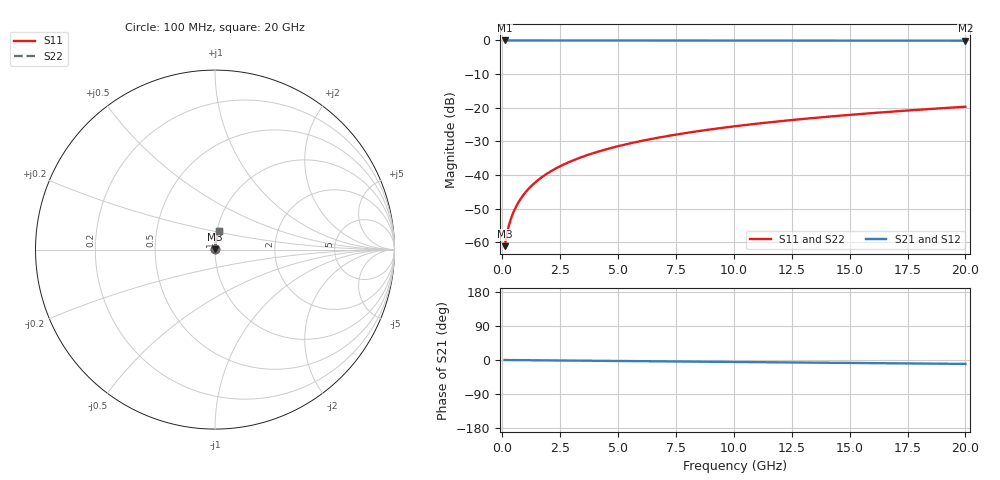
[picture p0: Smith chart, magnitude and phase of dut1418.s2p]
! Touchstone file exported from HFSS 2026.1.0
!  File:  C:/ffzhzh/LocalFiles/Ansys_Project_Files/temp_train_TMRDL_1418_1783166648_51560.aedt
!  Generated:  08:05:17 PM Jul  4, 2026
!  Design:  TMRDL
!  Project:  temp_train_TMRDL_1418_1783166648_51560
! Variables:
!  h_bsmrdl = 2um
!  h_ox = 20um
!  h_rdl = 5um
!  h_sub = 80um
!  h_tmrdl = 3.55um
!  h_tsv = 80um
!  h_via = 3um
!  l_bsmrdl = 300um
!  l_sub = 509.2um
!  l_tmrdl = 109.2um
!  m_sub = 200um
!  pitch = 53.42um
!  r_tsv = 6um
!  s_tmrdl = 10um
!  w_bsmrdl = 18um
!  w_sub = 500um
!  w_tmrdl = 27.6um
!  x_tsv_center1 = 123um
!  x_tsv_center2 = 441um
!  x_tsv_center3 = 577.8um
!  x_tsv_center4 = 895.8um
!  x_tsv_center5 = 1032.6um
!  x_tsv_center6 = 1350.6um
# GHz S MA R 50.000000
! Terminal data exported
! Port[1] = TM_RDL1_1_T1
! Port[2] = TM_RDL1_1_T2
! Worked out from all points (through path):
!   200 points, 100 MHz to 20 GHz, reference 50 ohm
!   highest |S21| = -0.01 dB at 100 MHz (marker M1); lowest = -0.1 dB at 20 GHz (marker M2)
!   group delay of S21, straight-line fit = 1.43 ps
!   lowest |S11| = -61.1 dB at 100 MHz (marker M3), VSWR 1.00, Z = 50.1 + j0.0593 ohm
!   |S11| at or under -10 dB: start of sweep to end of sweep
!   |S22| runs from -61.1 to -19.7 dB; largest |S21 - S12| = 2.5e-15
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0.1  0.0008765 42.5  0.9994 -0.1  0.9994 -0.1  0.0008765 42.5
! Gamma 0 0 0 0
! Port Impedance 50 0 50 0
0.2  0.00135 59.6  0.9993 -0.1  0.9993 -0.1  0.00135 59.6
0.3  0.001861 67.2  0.9993 -0.2  0.9993 -0.2  0.001861 67.2
0.4  0.002378 71.5  0.9993 -0.2  0.9993 -0.2  0.002378 71.5
0.5  0.002896 74.3  0.9992 -0.3  0.9992 -0.3  0.002896 74.3
0.6  0.003416 76.4  0.9992 -0.3  0.9992 -0.3  0.003416 76.4
0.8  0.004465 79.1  0.9992 -0.4  0.9992 -0.4  0.004465 79.1
1.1  0.006051 81.5  0.9991 -0.6  0.9991 -0.6  0.006051 81.5
1.5  0.008182 83.1  0.9991 -0.8  0.9991 -0.8  0.008182 83.1
1.8  0.009785 83.8  0.9991 -0.9  0.9991 -0.9  0.009785 83.8
2.1  0.01139 84.3  0.999 -1.1  0.999 -1.1  0.01139 84.3
2.7  0.0146 84.8  0.9989 -1.4  0.9989 -1.4  0.0146 84.8
3.5  0.01886 84.9  0.9988 -1.8  0.9988 -1.8  0.01886 84.9
4.2  0.02258 84.9  0.9986 -2.2  0.9986 -2.2  0.02258 84.9
5  0.02681 84.7  0.9984 -2.6  0.9984 -2.6  0.02681 84.7
5.9  0.03154 84.4  0.9981 -3.1  0.9981 -3.1  0.03154 84.4
6.8  0.03625 84.0  0.9978 -3.6  0.9978 -3.6  0.03625 84.0
8.3  0.04405 83.4  0.9973 -4.3  0.9973 -4.3  0.04405 83.4
10.1  0.05333 82.7  0.9966 -5.3  0.9966 -5.3  0.05333 82.7
13.4  0.0702 81.2  0.9952 -6.9  0.9952 -6.9  0.0702 81.2
16.7  0.0869 79.7  0.9936 -8.6  0.9936 -8.6  0.0869 79.7
20  0.1034 78.1  0.9918 -10.3  0.9918 -10.3  0.1034 78.1
